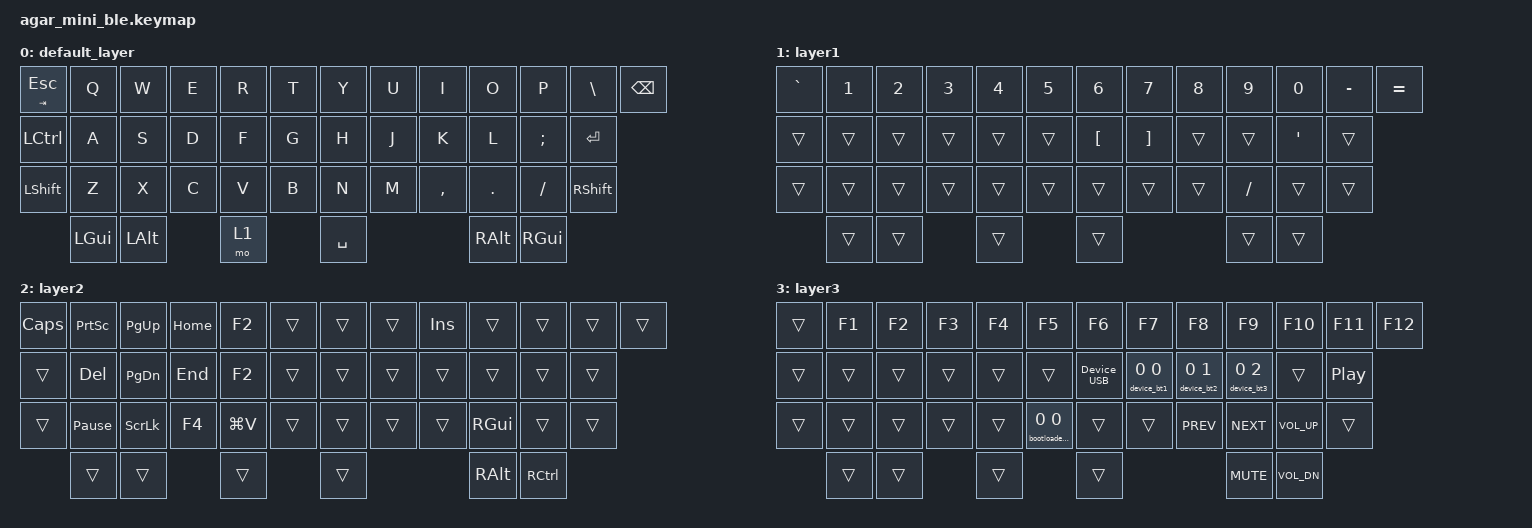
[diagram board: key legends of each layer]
#include "common.keymap"

/ {
    keymap {
        compatible = "zmk,keymap";

        default_layer {
            bindings = <
&mt_tp TAB ESC     &kp Q      &kp W     &kp E  &kp R        &kp T  &kp Y      &kp U  &kp I      &kp O           &kp P              &kp BACKSLASH  &kp BSPC
&kp LCTRL  &kp A      &kp S     &kp D  &kp F        &kp G  &kp H      &kp J  &kp K      &kp L           &kp SEMI           &kp RET
&kp LSHFT  &kp Z      &kp X     &kp C  &kp V        &kp B  &kp N      &kp M  &kp COMMA  &kp DOT         &kp SLASH          &kp RSHIFT
           &kp LGUI   &kp LALT         &mo 1               &kp SPACE                    &kp RALT        &kp RGUI
            >;
        };

        layer1 {
            bindings = <
&kp GRAVE  &kp N1  &kp N2  &kp N3          &kp N4          &kp N5           &kp N6            &kp N7             &kp N8  &kp N9     &kp N0            &kp MINUS  &kp EQUAL
&trans     &trans  &trans  &trans          &trans          &trans           &kp LEFT_BRACKET  &kp RIGHT_BRACKET  &trans  &trans     &kp SINGLE_QUOTE  &trans
&trans     &trans  &trans  &trans          &trans          &trans           &trans            &trans             &trans  &kp SLASH  &trans            &trans
           &trans  &trans                  &trans                           &trans                                       &trans     &trans
            >;
        };

        layer2 {
            bindings = <
&kp CAPSLOCK  &kp PRINTSCREEN  &kp PAGE_UP     &kp HOME  &kp F2     &trans  &trans  &trans  &kp INSERT  &trans    &trans     &trans  &trans
&trans        &kp DELETE       &kp PAGE_DOWN   &kp END   &kp F2     &trans  &trans  &trans  &trans      &trans    &trans     &trans
&trans        &kp PAUSE_BREAK  &kp SCROLLLOCK  &kp F4    &kp LG(V)  &trans  &trans  &trans  &trans      &kp RGUI  &trans     &trans
              &trans           &trans                    &trans             &trans                      &kp RALT  &kp RCTRL
            >;
        };

        layer3 {
            bindings = <
&trans  &kp F1  &kp F2  &kp F3  &kp F4  &kp F5  &kp F6  &kp F7  &kp F8      &kp F9      &kp F10       &kp F11           &kp F12
&trans  &trans  &trans  &trans  &trans  &trans  &Device_USB  &device_bt1 0 0  &device_bt2 0 1  &device_bt3 0 2  &trans   &kp C_PLAY_PAUSE
&trans  &trans  &trans  &trans  &trans  &bootloader_reset 0 0 &trans  &trans  &kp C_PREV  &kp C_NEXT  &kp C_VOL_UP  &trans
        &trans  &trans          &trans          &trans                      &kp C_MUTE  &kp C_VOL_DN
            >;
        };

        layer4 { status = "reserved"; };
    };
};
